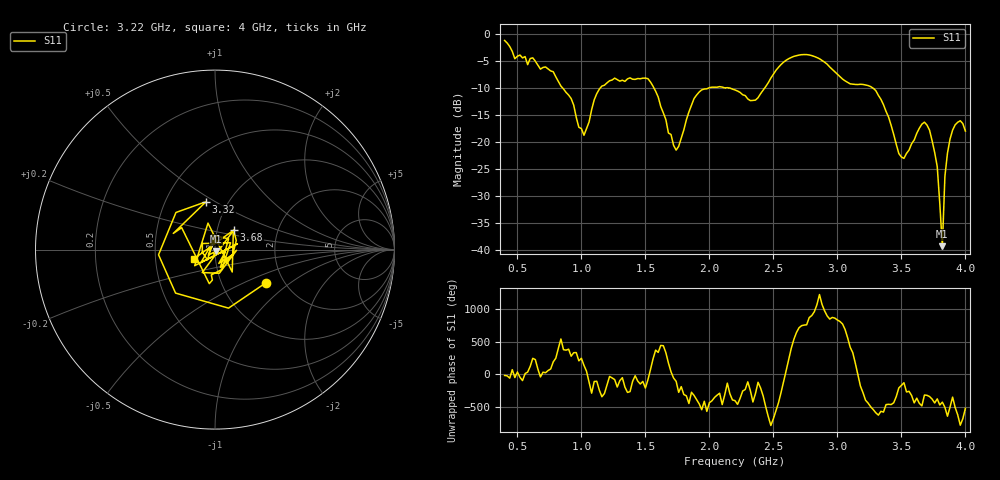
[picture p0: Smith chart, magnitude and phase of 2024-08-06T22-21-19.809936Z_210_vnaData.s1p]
!Created with skrf (http://scikit-rf.org).
# Hz S RI R 50.0
!freq ReS11 ImS11
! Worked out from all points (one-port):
!   181 points, 400 MHz to 4 GHz, reference 50 ohm
!   lowest |S11| = -39.4 dB at 3.82 GHz (marker M1), VSWR 1.02, Z = 50.5 - j0.957 ohm
!   |S11| at or under -10 dB: 854.7 MHz to 1.146 GHz (291.4 MHz wide, 29.1 % of centre); 1.568 GHz to 1.991 GHz (423.4 MHz wide, 23.8 % of centre); 3.279 GHz to end of sweep (the widest 3 of 4)
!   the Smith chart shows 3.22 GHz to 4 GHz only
!   S11 on the Smith chart (normalised r, x): 3.22 GHz: 1.62, -0.68; 3.32 GHz: 0.79, +0.45; 3.68 GHz: 1.20, +0.27; 4 GHz: 0.79, -0.08
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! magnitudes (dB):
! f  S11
! 400 MHz  -1.1
! 480 MHz  -4.5
! 620 MHz  -4.4
! 860 MHz  -10.1
! 1.02 GHz  -18.8
! 1.14 GHz  -10.2
! 1.3 GHz  -8.7
! 1.52 GHz  -8.2
! 1.72 GHz  -20.6
! 1.76 GHz  -20.8
! 1.92 GHz  -10.7
! 2.2 GHz  -10.3
! 2.36 GHz  -12.2
! 2.66 GHz  -4.1
! 2.86 GHz  -4.5
! 3.1 GHz  -9.2
! 3.22 GHz  -9.4
! 3.32 GHz  -11.3
! 3.48 GHz  -22.2
! 3.56 GHz  -21.5
! 3.68 GHz  -16.3
! 3.72 GHz  -17.8
! 3.78 GHz  -24.6
! 3.82 GHz  -39.4
! 3.84 GHz  -26.4
! 3.88 GHz  -19.5
! 3.96 GHz  -16.1
! 4 GHz  -18.0
